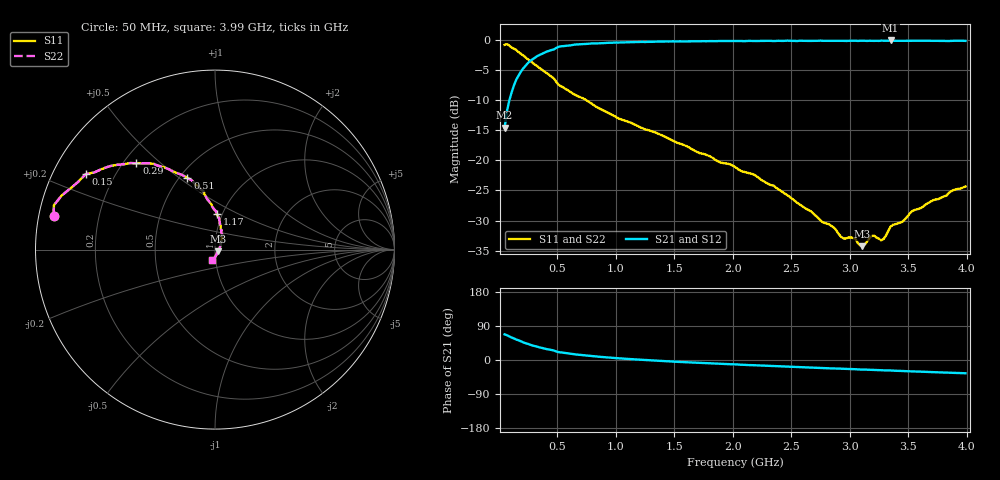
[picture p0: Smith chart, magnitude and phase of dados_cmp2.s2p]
! Data Taken on a HP 8720C VNA using a shunt-through fixture with TRL* de-embedding
#	mhz	s	ma	r	50
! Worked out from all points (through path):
!   198 points, 50 MHz to 3.99 GHz, reference 50 ohm
!   highest |S21| = 0.00 dB at 3.35 GHz (marker M1); lowest = -14.5 dB at 50 MHz (marker M2)
!   group delay of S21, straight-line fit = 51.9 ps
!   lowest |S11| = -34.3 dB at 3.11 GHz (marker M3), VSWR 1.04, Z = 51.8 - j0.877 ohm
!   |S11| at or under -10 dB: 752.4 MHz to end of sweep
!   |S22| runs from -34.3 to -0.6 dB; largest |S21 - S12| = 0
!   S11 on the Smith chart (normalised r, x): 50 MHz: 0.04, +0.10; 150 MHz: 0.10, +0.27; 290 MHz: 0.25, +0.42; 510 MHz: 0.55, +0.54; 1.17 GHz: 0.94, +0.39; 3.99 GHz: 0.96, -0.11
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50  0.9181 168.3  0.1877 67.7  0.1877 67.7  0.9181 168.3
70  0.931 164.6  0.2578 65.3  0.2578 65.3  0.931 164.6
90  0.905 160.5  0.3153 62.2  0.3153 62.2  0.905 160.5
150  0.8338 149.7  0.4727 53.9  0.4727 53.9  0.8338 149.7
290  0.6503 132.3  0.6969 38.2  0.6969 38.2  0.6503 132.3
510  0.429 111.0  0.8837 21.0  0.8837 21.0  0.429 111.0
710  0.3326 101.4  0.9293 13.0  0.9293 13.0  0.3326 101.4
1170  0.1979 86.9  0.9675 1.5  0.9675 1.5  0.1979 86.9
1370  0.1663 81.5  0.9772 -2.2  0.9772 -2.2  0.1663 81.5
2030  0.08702 63.8  0.9896 -11.5  0.9896 -11.5  0.08702 63.8
2350  0.06179 53.3  0.9879 -16.0  0.9879 -16.0  0.06179 53.3
2690  0.03616 35.2  0.9918 -20.2  0.9918 -20.2  0.03616 35.2
2870  0.02743 17.8  0.9934 -22.3  0.9934 -22.3  0.02743 17.8
2930  0.02298 10.2  0.9949 -23.0  0.9949 -23.0  0.02298 10.2
3050  0.02221 -10.6  0.9946 -24.5  0.9946 -24.5  0.02221 -10.6
3110  0.01933 -26.0  0.9948 -25.2  0.9948 -25.2  0.01933 -26.0
3190  0.02358 -41.3  0.9918 -25.9  0.9918 -25.9  0.02358 -41.3
3290  0.02216 -61.4  0.9953 -27.3  0.9953 -27.3  0.02216 -61.4
3350  0.0281 -70.0  0.9995 -27.7  0.9995 -27.7  0.0281 -70.0
3450  0.03081 -80.0  0.9925 -29.0  0.9925 -29.0  0.03081 -80.0
3550  0.03852 -85.3  0.9927 -30.0  0.9927 -30.0  0.03852 -85.3
3990  0.06067 -104.6  0.9914 -35.0  0.9914 -35.0  0.06067 -104.6
